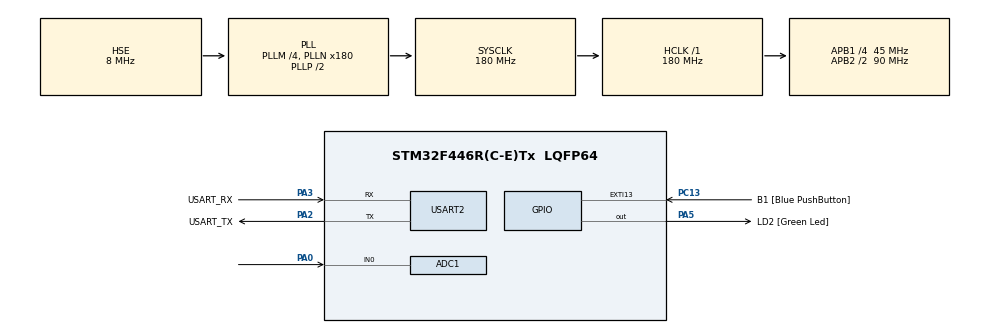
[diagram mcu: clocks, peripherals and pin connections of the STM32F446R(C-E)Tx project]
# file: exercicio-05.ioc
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ADC1.Channel-0\#ChannelRegularConversion=ADC_CHANNEL_0
ADC1.NbrOfConversionFlag=1
ADC1.Rank-0\#ChannelRegularConversion=1
ADC1.SamplingTime-0\#ChannelRegularConversion=ADC_SAMPLETIME_3CYCLES
ADC1.master=1
FREERTOS.BinarySemaphores01=semCalc,Dynamic,NULL,Depleted;semSend,Dynamic,NULL,Depleted
FREERTOS.Tasks01=TaskADC,32,128,TaskADCFunc,Default,NULL,Dynamic,NULL,NULL;TaskCalc,24,128,TaskCalcFunc,Default,NULL,Dynamic,NULL,NULL;TaskSend,8,512,TaskSendFunc,Default,NULL,Dynamic,NULL,NULL
FREERTOS.configUSE_NEWLIB_REENTRANT=1
Mcu.Family=STM32F4
Mcu.Name=STM32F446R(C-E)Tx
Mcu.Package=LQFP64
NVIC.EXTI15_10_IRQn=true\:5\:0\:false\:false\:true\:true\:true\:true\:true
NVIC.PriorityGroup=NVIC_PRIORITYGROUP_4
NVIC.TIM2_IRQn=true\:15\:0\:false\:false\:true\:false\:false\:true\:true
NVIC.TimeBase=TIM2_IRQn
NVIC.TimeBaseIP=TIM2
PA0-WKUP.Signal=ADCx_IN0
PA13.GPIO_Label=TMS
PA13.Mode=Serial_Wire
PA13.Signal=SYS_JTMS-SWDIO
PA14.GPIO_Label=TCK
PA14.Mode=Serial_Wire
PA14.Signal=SYS_JTCK-SWCLK
PA2.GPIO_Label=USART_TX
PA2.Mode=Asynchronous
PA2.Signal=USART2_TX
PA3.GPIO_Label=USART_RX
PA3.Mode=Asynchronous
PA3.Signal=USART2_RX
PA5.GPIO_Label=LD2 [Green Led]
PA5.Signal=GPIO_Output
PB3.GPIO_Label=SWO
PB3.Signal=SYS_JTDO-SWO
PC13.GPIO_Label=B1 [Blue PushButton]
PC13.GPIO_ModeDefaultEXTI=GPIO_MODE_IT_FALLING
PC13.Signal=GPXTI13
PC14-OSC32_IN.Mode=LSE-External-Oscillator
PC14-OSC32_IN.Signal=RCC_OSC32_IN
PC15-OSC32_OUT.Mode=LSE-External-Oscillator
PC15-OSC32_OUT.Signal=RCC_OSC32_OUT
PH0-OSC_IN.Mode=HSE-External-Oscillator
PH0-OSC_IN.Signal=RCC_OSC_IN
PH1-OSC_OUT.Mode=HSE-External-Oscillator
PH1-OSC_OUT.Signal=RCC_OSC_OUT
ProjectManager.HeapSize=0x200
ProjectManager.StackSize=0x400
ProjectManager.TargetToolchain=STM32CubeIDE
RCC.48MHZClocksFreq_Value=84000000
RCC.AHBFreq_Value=180000000
RCC.APB1CLKDivider=RCC_HCLK_DIV4
RCC.APB1Freq_Value=45000000
RCC.APB1TimFreq_Value=90000000
RCC.APB2CLKDivider=RCC_HCLK_DIV2
RCC.APB2Freq_Value=90000000
RCC.APB2TimFreq_Value=180000000
RCC.CortexFreq_Value=180000000
RCC.FLatency-AdvancedSettings=FLASH_LATENCY_5
RCC.HCLKFreq_Value=180000000
RCC.HSE_VALUE=8000000
RCC.HSI_VALUE=16000000
RCC.PLLM=4
RCC.PLLN=180
RCC.PLLSourceVirtual=RCC_PLLSOURCE_HSE
RCC.SYSCLKFreq_VALUE=180000000
RCC.SYSCLKSource=RCC_SYSCLKSOURCE_PLLCLK
RCC.USBFreq_Value=180000000
RCC.VCOOutputFreq_Value=360000000
SH.ADCx_IN0.0=ADC1_IN0,IN0
USART2.VirtualMode=VM_ASYNC
VP_FREERTOS_VS_CMSIS_V2.Mode=CMSIS_V2
VP_SYS_VS_tim2.Mode=TIM2
board=NUCLEO-F446RE

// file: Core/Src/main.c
/* USER CODE BEGIN Header */
/**
 ******************************************************************************
 * @file           : main.c
 * @brief          : Main program body
 ******************************************************************************
 * @attention
 *
 * Copyright (c) 2025 STMicroelectronics.
 * All rights reserved.
 *
 * This software is licensed under terms that can be found in the LICENSE file
 * in the root directory of this software component.
 * If no LICENSE file comes with this software, it is provided AS-IS.
 *
 ******************************************************************************
 */
/* USER CODE END Header */
#include "main.h"
#include "cmsis_os.h"

/* USER CODE BEGIN Includes */
#include <stdio.h>
#include <string.h>
/* USER CODE END Includes */

ADC_HandleTypeDef hadc1;

UART_HandleTypeDef huart2;

/* Definitions for TaskADC */
osThreadId_t TaskADCHandle;
const osThreadAttr_t TaskADC_attributes = { .name = "TaskADC", .stack_size = 128
		* 4, .priority = (osPriority_t) osPriorityAboveNormal, };
/* Definitions for TaskCalc */
osThreadId_t TaskCalcHandle;
const osThreadAttr_t TaskCalc_attributes = { .name = "TaskCalc", .stack_size =
		128 * 4, .priority = (osPriority_t) osPriorityNormal, };
/* Definitions for TaskSend */
osThreadId_t TaskSendHandle;
const osThreadAttr_t TaskSend_attributes = { .name = "TaskSend", .stack_size =
		512 * 4, .priority = (osPriority_t) osPriorityLow, };
/* Definitions for semCalc */
osSemaphoreId_t semCalcHandle;
const osSemaphoreAttr_t semCalc_attributes = { .name = "semCalc" };
/* Definitions for semSend */
osSemaphoreId_t semSendHandle;
const osSemaphoreAttr_t semSend_attributes = { .name = "semSend" };
/* USER CODE BEGIN PV */
uint32_t adc_samples[100];
double media_calculada = 0;
int ciclo_atual = 0;
uint8_t processo_ativo = 1;
char buffer[100];
/* USER CODE END PV */

void SystemClock_Config(void);
static void MX_GPIO_Init(void);
static void MX_USART2_UART_Init(void);
static void MX_ADC1_Init(void);
void TaskADCFunc(void *argument);
void TaskCalcFunc(void *argument);
void TaskSendFunc(void *argument);

int main(void) {

	/* MCU Configuration--------------------------------------------------------*/

	/* Reset of all peripherals, Initializes the Flash interface and the Systick. */
	HAL_Init();

	/* Configure the system clock */
	SystemClock_Config();

	/* Initialize all configured peripherals */
	MX_GPIO_Init();
	MX_USART2_UART_Init();
	MX_ADC1_Init();

	/* Init scheduler */
	osKernelInitialize();

	/* Create the semaphores(s) */
	/* creation of semCalc */
	semCalcHandle = osSemaphoreNew(1, 0, &semCalc_attributes);

	/* creation of semSend */
	semSendHandle = osSemaphoreNew(1, 0, &semSend_attributes);

	/* Create the thread(s) */
	/* creation of TaskADC */
	TaskADCHandle = osThreadNew(TaskADCFunc, NULL, &TaskADC_attributes);

	/* creation of TaskCalc */
	TaskCalcHandle = osThreadNew(TaskCalcFunc, NULL, &TaskCalc_attributes);

	/* creation of TaskSend */
	TaskSendHandle = osThreadNew(TaskSendFunc, NULL, &TaskSend_attributes);

	/* Start scheduler */
	osKernelStart();

	/* We should never get here as control is now taken by the scheduler */

	/* Infinite loop */
	while (1) {

	}
}

void SystemClock_Config(void) {
	RCC_OscInitTypeDef RCC_OscInitStruct = { 0 };
	RCC_ClkInitTypeDef RCC_ClkInitStruct = { 0 };

	/** Configure the main internal regulator output voltage
	 */
	__HAL_RCC_PWR_CLK_ENABLE();
	__HAL_PWR_VOLTAGESCALING_CONFIG(PWR_REGULATOR_VOLTAGE_SCALE1);

	/** Initializes the RCC Oscillators according to the specified parameters
	 * in the RCC_OscInitTypeDef structure.
	 */
	RCC_OscInitStruct.OscillatorType = RCC_OSCILLATORTYPE_HSE;
	RCC_OscInitStruct.HSEState = RCC_HSE_ON;
	RCC_OscInitStruct.PLL.PLLState = RCC_PLL_ON;
	RCC_OscInitStruct.PLL.PLLSource = RCC_PLLSOURCE_HSE;
	RCC_OscInitStruct.PLL.PLLM = 4;
	RCC_OscInitStruct.PLL.PLLN = 180;
	RCC_OscInitStruct.PLL.PLLP = RCC_PLLP_DIV2;
	RCC_OscInitStruct.PLL.PLLQ = 2;
	RCC_OscInitStruct.PLL.PLLR = 2;
	if (HAL_RCC_OscConfig(&RCC_OscInitStruct) != HAL_OK) {
		Error_Handler();
	}

	/** Activate the Over-Drive mode
	 */
	if (HAL_PWREx_EnableOverDrive() != HAL_OK) {
		Error_Handler();
	}

	/** Initializes the CPU, AHB and APB buses clocks
	 */
	RCC_ClkInitStruct.ClockType = RCC_CLOCKTYPE_HCLK | RCC_CLOCKTYPE_SYSCLK
			| RCC_CLOCKTYPE_PCLK1 | RCC_CLOCKTYPE_PCLK2;
	RCC_ClkInitStruct.SYSCLKSource = RCC_SYSCLKSOURCE_PLLCLK;
	RCC_ClkInitStruct.AHBCLKDivider = RCC_SYSCLK_DIV1;
	RCC_ClkInitStruct.APB1CLKDivider = RCC_HCLK_DIV4;
	RCC_ClkInitStruct.APB2CLKDivider = RCC_HCLK_DIV2;

	if (HAL_RCC_ClockConfig(&RCC_ClkInitStruct, FLASH_LATENCY_5) != HAL_OK) {
		Error_Handler();
	}
}

static void MX_ADC1_Init(void) {

	ADC_ChannelConfTypeDef sConfig = { 0 };

	/** Configure the global features of the ADC (Clock, Resolution, Data Alignment and number of conversion)
	 */
	hadc1.Instance = ADC1;
	hadc1.Init.ClockPrescaler = ADC_CLOCK_SYNC_PCLK_DIV4;
	hadc1.Init.Resolution = ADC_RESOLUTION_12B;
	hadc1.Init.ScanConvMode = DISABLE;
	hadc1.Init.ContinuousConvMode = DISABLE;
	hadc1.Init.DiscontinuousConvMode = DISABLE;
	hadc1.Init.ExternalTrigConvEdge = ADC_EXTERNALTRIGCONVEDGE_NONE;
	hadc1.Init.ExternalTrigConv = ADC_SOFTWARE_START;
	hadc1.Init.DataAlign = ADC_DATAALIGN_RIGHT;
	hadc1.Init.NbrOfConversion = 1;
	hadc1.Init.DMAContinuousRequests = DISABLE;
	hadc1.Init.EOCSelection = ADC_EOC_SINGLE_CONV;
	if (HAL_ADC_Init(&hadc1) != HAL_OK) {
		Error_Handler();
	}

	/** Configure for the selected ADC regular channel its corresponding rank in the sequencer and its sample time.
	 */
	sConfig.Channel = ADC_CHANNEL_0;
	sConfig.Rank = 1;
	sConfig.SamplingTime = ADC_SAMPLETIME_3CYCLES;
	if (HAL_ADC_ConfigChannel(&hadc1, &sConfig) != HAL_OK) {
		Error_Handler();
	}

}

static void MX_USART2_UART_Init(void) {

	huart2.Instance = USART2;
	huart2.Init.BaudRate = 115200;
	huart2.Init.WordLength = UART_WORDLENGTH_8B;
	huart2.Init.StopBits = UART_STOPBITS_1;
	huart2.Init.Parity = UART_PARITY_NONE;
	huart2.Init.Mode = UART_MODE_TX_RX;
	huart2.Init.HwFlowCtl = UART_HWCONTROL_NONE;
	huart2.Init.OverSampling = UART_OVERSAMPLING_16;
	if (HAL_UART_Init(&huart2) != HAL_OK) {
		Error_Handler();
	}

}

static void MX_GPIO_Init(void) {
	GPIO_InitTypeDef GPIO_InitStruct = { 0 };

	/* GPIO Ports Clock Enable */
	__HAL_RCC_GPIOC_CLK_ENABLE();
	__HAL_RCC_GPIOH_CLK_ENABLE();
	__HAL_RCC_GPIOA_CLK_ENABLE();
	__HAL_RCC_GPIOB_CLK_ENABLE();

	/*Configure GPIO pin Output Level */
	HAL_GPIO_WritePin(LD2_GPIO_Port, LD2_Pin, GPIO_PIN_RESET);

	/*Configure GPIO pin : B1_Pin */
	GPIO_InitStruct.Pin = B1_Pin;
	GPIO_InitStruct.Mode = GPIO_MODE_IT_FALLING;
	GPIO_InitStruct.Pull = GPIO_NOPULL;
	HAL_GPIO_Init(B1_GPIO_Port, &GPIO_InitStruct);

	/*Configure GPIO pin : LD2_Pin */
	GPIO_InitStruct.Pin = LD2_Pin;
	GPIO_InitStruct.Mode = GPIO_MODE_OUTPUT_PP;
	GPIO_InitStruct.Pull = GPIO_NOPULL;
	GPIO_InitStruct.Speed = GPIO_SPEED_FREQ_LOW;
	HAL_GPIO_Init(LD2_GPIO_Port, &GPIO_InitStruct);

	/* EXTI interrupt init*/
	HAL_NVIC_SetPriority(EXTI15_10_IRQn, 5, 0);
	HAL_NVIC_EnableIRQ(EXTI15_10_IRQn);

}

/* USER CODE BEGIN 4 */
void HAL_GPIO_EXTI_Callback(uint16_t GPIO_Pin) {
	if (GPIO_Pin == B1_Pin) {
		HAL_UART_Transmit(&huart2, (uint8_t*) "botao apertado!\n",
				strlen("botao apertado!\n"), HAL_MAX_DELAY);

		if (!processo_ativo) {
			processo_ativo = 1;
			ciclo_atual = 0;

			int len = snprintf(buffer, sizeof(buffer),
					"\n=== PROCESSO REINICIADO ===\n");
			HAL_UART_Transmit(&huart2, (uint8_t*) buffer, len,
			HAL_MAX_DELAY);
		}
	}
}
/* USER CODE END 4 */

void TaskADCFunc(void *argument) {
	/* USER CODE BEGIN 5 */
	/* Infinite loop */
	for (;;) {
		if (processo_ativo && ciclo_atual < 10) {
			// Debug: Indica início da coleta
			int len = snprintf(buffer, sizeof(buffer),
					"ADC: Iniciando coleta ciclo %d...\n", ciclo_atual + 1);
			HAL_UART_Transmit(&huart2, (uint8_t*) buffer, len, HAL_MAX_DELAY);

			// Coleta 100 amostras
			for (int i = 0; i < 100; i++) {
				HAL_ADC_Start(&hadc1);
				HAL_ADC_PollForConversion(&hadc1, HAL_MAX_DELAY);
				adc_samples[i] = HAL_ADC_GetValue(&hadc1);
				HAL_ADC_Stop(&hadc1); // IMPORTANTE: Parar ADC após cada conversão

				osDelay(10);  // Pequeno delay entre amostras
			}

			HAL_UART_Transmit(&huart2,
					(uint8_t*) "ADC: Conversoes finalizadas!\n",
					strlen("ADC: Conversoes finalizadas!\n"), HAL_MAX_DELAY);

			// Libera semáforo para TaskCalc
			osSemaphoreRelease(semCalcHandle);
		}

		osDelay(100);
	}
	/* USER CODE END 5 */
}

void TaskCalcFunc(void *argument) {
	/* USER CODE BEGIN TaskCalcFunc */
	/* Infinite loop */
	for (;;) {
		if (osSemaphoreAcquire(semCalcHandle, osWaitForever) == osOK) {
			uint32_t sum = 0;

			for (int i = 0; i < 100; i++) {
				sum += adc_samples[i];
			}

			media_calculada = sum / 100.0;

			HAL_UART_Transmit(&huart2, (uint8_t*) "media calculada!!\n",
					strlen("media calculada!!\n"), HAL_MAX_DELAY);

			osSemaphoreRelease(semSendHandle);
		}
		osDelay(1);
	}
	/* USER CODE END TaskCalcFunc */
}

void TaskSendFunc(void *argument) {
	/* USER CODE BEGIN TaskSendFunc */
	/* Infinite loop */
	for (;;) {
		if (osSemaphoreAcquire(semSendHandle, osWaitForever) == osOK) {
			double volt = (media_calculada * 3.3) / 4095;

			int len = snprintf(buffer, sizeof(buffer), "Media = %.1lfV\n",
					volt);

			HAL_UART_Transmit(&huart2, (uint8_t*) buffer, len, 10);

			ciclo_atual++;

			if (ciclo_atual >= 10) {
				processo_ativo = 0;

				HAL_UART_Transmit(&huart2,
						(uint8_t*) "processo concluido. aguardando...\n",
						strlen("processo concluido. aguardando...\n"),
						HAL_MAX_DELAY);
			}
		}

		osDelay(1);
	}
	/* USER CODE END TaskSendFunc */
}

void HAL_TIM_PeriodElapsedCallback(TIM_HandleTypeDef *htim) {
	if (htim->Instance == TIM2) {
		HAL_IncTick();
	}
}

void Error_Handler(void) {
	__disable_irq();
	while (1) {
	}
}
